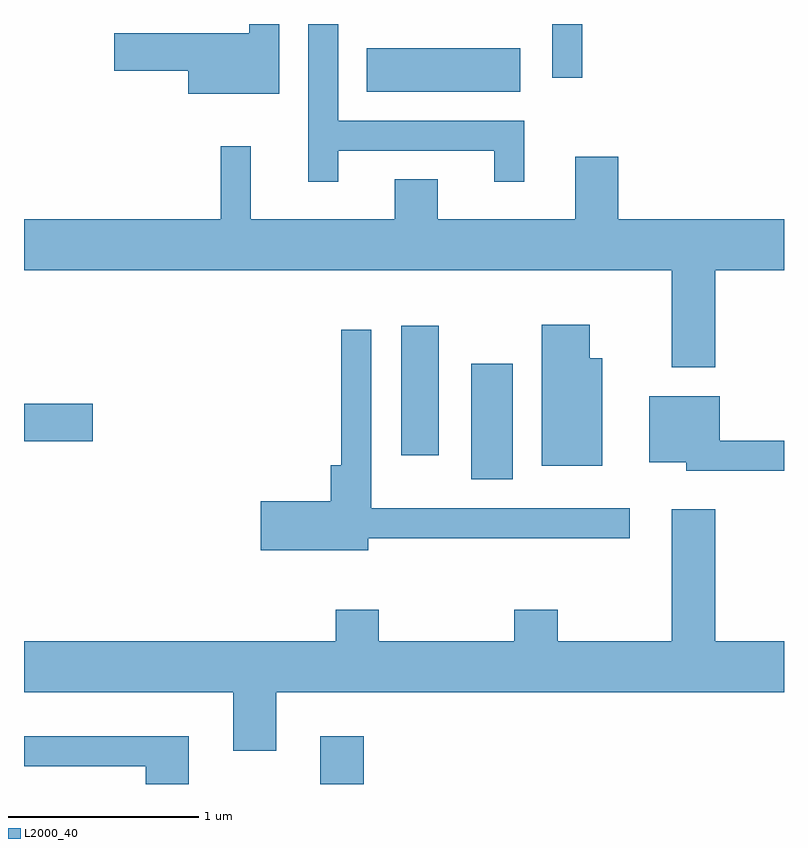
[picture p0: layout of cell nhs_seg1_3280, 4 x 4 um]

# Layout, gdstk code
import gdstk
lib = gdstk.Library(unit=1e-6, precision=1e-09)
def R(c, l, rs):  # rectangles x0, y0, x1, y1
    for r in rs: c.add(gdstk.rectangle(r[:2], r[2:], *l))
def P(c, l, *ps):  # polygons
    for p in ps: c.add(gdstk.Polygon(p, *l))
L2000_40 = (2000, 40)

nhs_seg1_3280 = lib.new_cell('nhs_seg1_3280')
R(nhs_seg1_3280, L2000_40, [(285.171,945.712,285.399,945.964), (285.966,947.316,286.184,947.924), (285.596,947.441,285.794,948.124), (283.611,947.516,283.974,947.714), (285.416,949.356,286.224,949.584), (286.391,949.428,286.549,949.712)])
P(nhs_seg1_3280, L2000_40, [(285.264,949.046),(286.086,949.046),(286.086,948.883),(286.244,948.883),(286.244,949.204),(285.264,949.204),(285.264,949.712),(285.106,949.712),(285.106,948.883),(285.264,948.883)],
  [(284.954,949.712),(284.796,949.712),(284.796,949.664),(284.086,949.664),(284.086,949.466),(284.476,949.466),(284.476,949.346),(284.954,949.346)],
  [(287.249,948.416),(287.611,948.416),(287.611,948.684),(286.739,948.684),(286.739,949.014),(286.511,949.014),(286.511,948.684),(285.789,948.684),(285.789,948.894),(285.561,948.894),(285.561,948.684),(284.804,948.684),(284.804,949.068),(284.646,949.068),(284.646,948.684),(283.611,948.684),(283.611,948.416),(287.021,948.416),(287.021,947.906),(287.249,947.906)],
  [(286.654,947.954),(286.589,947.954),(286.589,948.129),(286.336,948.129),(286.336,947.386),(286.654,947.386)],
  [(285.424,947.006),(286.798,947.006),(286.798,947.164),(285.439,947.164),(285.439,948.103),(285.281,948.103),(285.281,947.389),(285.226,947.389),(285.226,947.199),(284.856,947.199),(284.856,946.941),(285.424,946.941)],
  [(287.611,947.519),(287.274,947.519),(287.274,947.754),(286.901,947.754),(286.901,947.406),(287.096,947.406),(287.096,947.361),(287.611,947.361)],
  [(284.939,946.196),(287.611,946.196),(287.611,946.464),(287.249,946.464),(287.249,947.159),(287.021,947.159),(287.021,946.464),(286.419,946.464),(286.419,946.629),(286.191,946.629),(286.191,946.464),(285.479,946.464),(285.479,946.629),(285.251,946.629),(285.251,946.464),(283.611,946.464),(283.611,946.196),(284.711,946.196),(284.711,945.886),(284.939,945.886)],
  [(284.479,945.964),(283.611,945.964),(283.611,945.806),(284.251,945.806),(284.251,945.712),(284.479,945.712)])

lib.write_gds('nhs_seg1_3280.gds')
